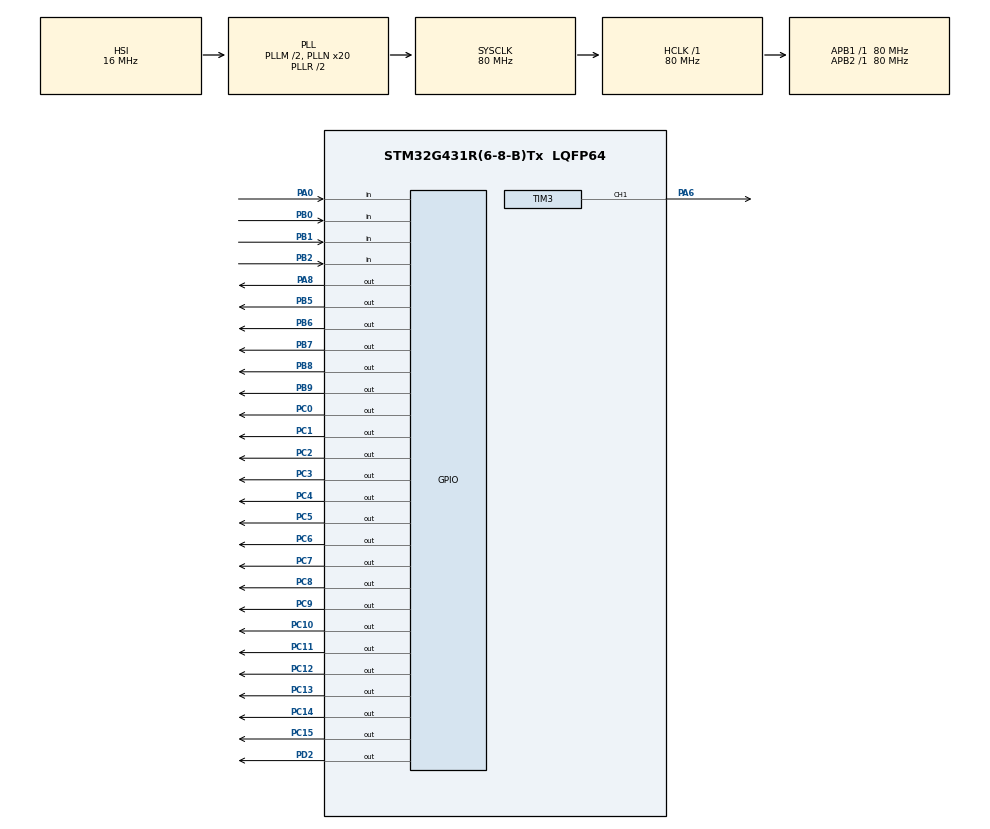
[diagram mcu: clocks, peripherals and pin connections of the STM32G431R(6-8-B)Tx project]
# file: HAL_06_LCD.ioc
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Mcu.Family=STM32G4
Mcu.Name=STM32G431R(6-8-B)Tx
Mcu.Package=LQFP64
NVIC.PriorityGroup=NVIC_PRIORITYGROUP_4
NVIC.TIM1_UP_TIM16_IRQn=true\:0\:0\:false\:false\:true\:true\:true\:true
PA0.GPIO_PuPd=GPIO_PULLUP
PA0.Signal=GPIO_Input
PA6.Signal=S_TIM3_CH1
PA8.Signal=GPIO_Output
PB0.GPIO_PuPd=GPIO_PULLUP
PB0.Signal=GPIO_Input
PB1.GPIO_PuPd=GPIO_PULLUP
PB1.Signal=GPIO_Input
PB2.GPIO_PuPd=GPIO_PULLUP
PB2.Signal=GPIO_Input
PB5.Signal=GPIO_Output
PB6.Signal=GPIO_Output
PB7.Signal=GPIO_Output
PB8-BOOT0.Signal=GPIO_Output
PB9.Signal=GPIO_Output
PC0.Signal=GPIO_Output
PC1.Signal=GPIO_Output
PC10.GPIO_ModeDefaultOutputPP=GPIO_MODE_OUTPUT_PP
PC10.GPIO_PuPd=GPIO_PULLUP
PC10.PinState=GPIO_PIN_SET
PC10.Signal=GPIO_Output
PC11.GPIO_ModeDefaultOutputPP=GPIO_MODE_OUTPUT_PP
PC11.GPIO_PuPd=GPIO_PULLUP
PC11.PinState=GPIO_PIN_SET
PC11.Signal=GPIO_Output
PC12.GPIO_ModeDefaultOutputPP=GPIO_MODE_OUTPUT_PP
PC12.GPIO_PuPd=GPIO_PULLUP
PC12.PinState=GPIO_PIN_SET
PC12.Signal=GPIO_Output
PC13.GPIO_ModeDefaultOutputPP=GPIO_MODE_OUTPUT_PP
PC13.GPIO_PuPd=GPIO_PULLUP
PC13.PinState=GPIO_PIN_SET
PC13.Signal=GPIO_Output
PC14-OSC32_IN.GPIO_ModeDefaultOutputPP=GPIO_MODE_OUTPUT_PP
PC14-OSC32_IN.GPIO_PuPd=GPIO_PULLUP
PC14-OSC32_IN.PinState=GPIO_PIN_SET
PC14-OSC32_IN.Signal=GPIO_Output
PC15-OSC32_OUT.GPIO_ModeDefaultOutputPP=GPIO_MODE_OUTPUT_PP
PC15-OSC32_OUT.GPIO_PuPd=GPIO_PULLUP
PC15-OSC32_OUT.PinState=GPIO_PIN_SET
PC15-OSC32_OUT.Signal=GPIO_Output
PC2.Signal=GPIO_Output
PC3.Signal=GPIO_Output
PC4.Signal=GPIO_Output
PC5.Signal=GPIO_Output
PC6.Signal=GPIO_Output
PC7.Signal=GPIO_Output
PC8.GPIO_ModeDefaultOutputPP=GPIO_MODE_OUTPUT_PP
PC8.GPIO_PuPd=GPIO_PULLUP
PC8.PinState=GPIO_PIN_SET
PC8.Signal=GPIO_Output
PC9.GPIO_ModeDefaultOutputPP=GPIO_MODE_OUTPUT_PP
PC9.GPIO_PuPd=GPIO_PULLUP
PC9.PinState=GPIO_PIN_SET
PC9.Signal=GPIO_Output
PD2.Signal=GPIO_Output
PF0-OSC_IN.Mode=HSE-External-Oscillator
PF0-OSC_IN.Signal=RCC_OSC_IN
PF1-OSC_OUT.Mode=HSE-External-Oscillator
PF1-OSC_OUT.Signal=RCC_OSC_OUT
ProjectManager.HeapSize=0x200
ProjectManager.StackSize=0x400
ProjectManager.TargetToolchain=MDK-ARM V5.27
RCC.ADC12Freq_Value=80000000
RCC.AHBFreq_Value=80000000
RCC.APB1Freq_Value=80000000
RCC.APB1TimFreq_Value=80000000
RCC.APB2Freq_Value=80000000
RCC.APB2TimFreq_Value=80000000
RCC.CortexFreq_Value=80000000
RCC.EXTERNAL_CLOCK_VALUE=12288000
RCC.HCLKFreq_Value=80000000
RCC.HSE_VALUE=24000000
RCC.HSI48_VALUE=48000000
RCC.HSI_VALUE=16000000
RCC.LSE_VALUE=32768
RCC.PLLM=RCC_PLLM_DIV2
RCC.PLLN=20
RCC.SYSCLKFreq_VALUE=80000000
RCC.SYSCLKSource=RCC_SYSCLKSOURCE_PLLCLK
RCC.USBFreq_Value=80000000
RCC.VCOOutputFreq_Value=160000000
SH.S_TIM3_CH1.0=TIM3_CH1,PWM Generation1 CH1
TIM16.PeriodNoDither=1000-1
TIM16.Prescaler=800-1
TIM3.Channel-PWM\ Generation1\ CH1=TIM_CHANNEL_1
TIM3.PeriodNoDither=100-1
TIM3.Prescaler=800-1
TIM3.PulseNoDither_1=80
VP_SYS_VS_DBSignals.Mode=DisableDeadBatterySignals
VP_TIM16_VS_ClockSourceINT.Mode=Enable_Timer
board=custom

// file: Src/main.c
/* USER CODE BEGIN Header */
/**
  ******************************************************************************
  * @file           : main.c
  * @brief          : Main program body
  ******************************************************************************
  * @attention
  *
  * <h2><center>&copy; Copyright (c) 2021 STMicroelectronics.
  * All rights reserved.</center></h2>
  *
  * This software component is licensed by ST under BSD 3-Clause license,
  * the "License"; You may not use this file except in compliance with the
  * License. You may obtain a copy of the License at:
  *                        opensource.org/licenses/BSD-3-Clause
  *
  ******************************************************************************
  */
/* USER CODE END Header */
#include "main.h"
#include "tim.h"
#include "gpio.h"

/* USER CODE BEGIN Includes */
#include "lcd.h"
#include "led.h"
#include "interrupt.h"
#include "stdio.h"
#include "i2c_hal.h"
/* USER CODE END Includes */

/* USER CODE BEGIN PD */
extern struct keys Key[];
/* USER CODE END PD */

/* USER CODE BEGIN PM */
void key_proc(void);
void lcd_proc(void);
/* USER CODE END PM */

/* USER CODE BEGIN PV */
uchar Choose=0;
uchar Mod=0; //0:Standby 1:Setting 2:Running 3:Pause
uchar Time_set; //0:hour 1:minute 2:second

struct times
{
	uchar hour;
	uchar minute;
	uchar second;
}Time[5]={0,1,0};
/* USER CODE END PV */

void SystemClock_Config(void);

int main(void)
{

  /* MCU Configuration--------------------------------------------------------*/

  /* Reset of all peripherals, Initializes the Flash interface and the Systick. */
  HAL_Init();

  /* Configure the system clock */
  SystemClock_Config();

  /* Initialize all configured peripherals */
  MX_GPIO_Init();
  MX_TIM16_Init();
  MX_TIM3_Init();
  /* USER CODE BEGIN 2 */

  LCD_Init();
	HAL_TIM_Base_Start_IT(&htim16);
	HAL_TIM_PWM_Start(&htim3,TIM_CHANNEL_1);
  /* USER CODE END 2 */

  /* Infinite loop */
  /* USER CODE BEGIN WHILE */

  LCD_Clear(Black);
  LCD_SetBackColor(Black);
  LCD_SetTextColor(White);
	LED_Disp(0x00);

	//数据初始化
	uchar temp=eeprom_read(114);
	HAL_Delay(10);
	if(temp!=15)
	{
		eeprom_write(114,15);
		HAL_Delay(10);
		for(int i=0;i<5;i++)
		{
			eeprom_write(3*i,Time[i].hour);
			HAL_Delay(10);
			eeprom_write(3*i+1,Time[i].minute);
			HAL_Delay(10);
			eeprom_write(3*i+2,Time[i].second);
			HAL_Delay(10);
		}
	}
	else
	{
		for(int i=0;i<5;i++)
		{
			Time[i].hour=eeprom_read(3*i);
			HAL_Delay(10);
			Time[i].minute=eeprom_read(3*i+1);
			HAL_Delay(10);
			Time[i].second=eeprom_read(3*i+2);
			HAL_Delay(10);
		}
	}
  while (1)
  {
		key_proc();
		lcd_proc();
    /* USER CODE END WHILE */

  }
}

void SystemClock_Config(void)
{
  RCC_OscInitTypeDef RCC_OscInitStruct = {0};
  RCC_ClkInitTypeDef RCC_ClkInitStruct = {0};

  /** Configure the main internal regulator output voltage
  */
  HAL_PWREx_ControlVoltageScaling(PWR_REGULATOR_VOLTAGE_SCALE1);

  /** Initializes the RCC Oscillators according to the specified parameters
  * in the RCC_OscInitTypeDef structure.
  */
  RCC_OscInitStruct.OscillatorType = RCC_OSCILLATORTYPE_HSI;
  RCC_OscInitStruct.HSIState = RCC_HSI_ON;
  RCC_OscInitStruct.HSICalibrationValue = RCC_HSICALIBRATION_DEFAULT;
  RCC_OscInitStruct.PLL.PLLState = RCC_PLL_ON;
  RCC_OscInitStruct.PLL.PLLSource = RCC_PLLSOURCE_HSI;
  RCC_OscInitStruct.PLL.PLLM = RCC_PLLM_DIV2;
  RCC_OscInitStruct.PLL.PLLN = 20;
  RCC_OscInitStruct.PLL.PLLP = RCC_PLLP_DIV2;
  RCC_OscInitStruct.PLL.PLLQ = RCC_PLLQ_DIV2;
  RCC_OscInitStruct.PLL.PLLR = RCC_PLLR_DIV2;
  if (HAL_RCC_OscConfig(&RCC_OscInitStruct) != HAL_OK)
  {
    Error_Handler();
  }

  /** Initializes the CPU, AHB and APB buses clocks
  */
  RCC_ClkInitStruct.ClockType = RCC_CLOCKTYPE_HCLK|RCC_CLOCKTYPE_SYSCLK
                              |RCC_CLOCKTYPE_PCLK1|RCC_CLOCKTYPE_PCLK2;
  RCC_ClkInitStruct.SYSCLKSource = RCC_SYSCLKSOURCE_PLLCLK;
  RCC_ClkInitStruct.AHBCLKDivider = RCC_SYSCLK_DIV1;
  RCC_ClkInitStruct.APB1CLKDivider = RCC_HCLK_DIV1;
  RCC_ClkInitStruct.APB2CLKDivider = RCC_HCLK_DIV1;

  if (HAL_RCC_ClockConfig(&RCC_ClkInitStruct, FLASH_LATENCY_2) != HAL_OK)
  {
    Error_Handler();
  }
}

/* USER CODE BEGIN 4 */
void key_proc(void)
{
	if(Key[0].single_flag)
	{
		Choose++;
		if(Choose==5) Choose=0;
		Key[0].single_flag=0;
	}
	if(Key[1].single_flag)
	{
		if(Mod!=1)
		{
			Mod=1;
			Time_set=0;
		}
		else
		{
			Time_set++;
			if(Time_set==3) Time_set=0;
		}
		Key[1].single_flag=0;
	}
	if(Key[1].long_flag) //保存
	{
		eeprom_write(Choose*3,Time[Choose].hour);
		HAL_Delay(10);
		eeprom_write(Choose*3+1,Time[Choose].minute);
		HAL_Delay(10);
		eeprom_write(Choose*3+2,Time[Choose].second);
		HAL_Delay(10);
		Mod=0;
	}
	if(Key[2].single_flag || Key[2].long_flag)
	{
		if(Mod==1)
		{
			if(Time_set==0)
			{
				Time[Choose].hour++;
				if(Time[Choose].hour==24) Time[Choose].hour=0;
			}
			else if(Time_set==1)
			{
				Time[Choose].minute++;
				if(Time[Choose].minute==60) Time[Choose].minute=0;
			}
			else
			{
				Time[Choose].second++;
				if(Time[Choose].second==60) Time[Choose].second=0;
			}
		}
		Key[2].single_flag=0;
	}
	if(Key[3].single_flag)
	{
		if(Mod!=2) Mod=2;
		else if(Mod==2) Mod=3;
		Key[3].single_flag=0;
	}
	if(Key[3].long_flag)
	{
		if(Mod==2 || Mod==3) Mod=0;
	}
}
void lcd_proc(void)
{
	char text[30];
	sprintf(text,"   No %d",Choose+1);
	LCD_DisplayStringLine(Line2, (unsigned char *)text);
	LCD_DisplayChar(Line4,Column9,':');
	LCD_DisplayChar(Line4,Column12,':');

	if(0==Time_set && Mod==1) LCD_SetTextColor(Red);
	LCD_DisplayChar(Line4,Column7,Time[Choose].hour/10+'0');
	LCD_DisplayChar(Line4,Column8,Time[Choose].hour%10+'0');
	if(0==Time_set && Mod==1) LCD_SetTextColor(White);
	if(1==Time_set && Mod==1) LCD_SetTextColor(Red);
	LCD_DisplayChar(Line4,Column10,Time[Choose].minute/10+'0');
	LCD_DisplayChar(Line4,Column11,Time[Choose].minute%10+'0');
	if(1==Time_set && Mod==1) LCD_SetTextColor(White);
	if(2==Time_set && Mod==1) LCD_SetTextColor(Red);
	LCD_DisplayChar(Line4,Column13,Time[Choose].second/10+'0');
	LCD_DisplayChar(Line4,Column14,Time[Choose].second%10+'0');
	if(2==Time_set && Mod==1) LCD_SetTextColor(White);

	if(Mod==0)
	{
		sprintf(text,"       Standby      ");
		LCD_DisplayStringLine(Line6, (unsigned char *)text);
	}
	else if(Mod==1)
	{
		sprintf(text,"       Setting      ");
		LCD_DisplayStringLine(Line6, (unsigned char *)text);
	}
	else if(Mod==2)
	{
		sprintf(text,"       Running      ");
		LCD_DisplayStringLine(Line6, (unsigned char *)text);
	}
	else
	{
		sprintf(text,"        Pause      ");
		LCD_DisplayStringLine(Line6, (unsigned char *)text);
	}
}
/* USER CODE END 4 */

void Error_Handler(void)
{
}
